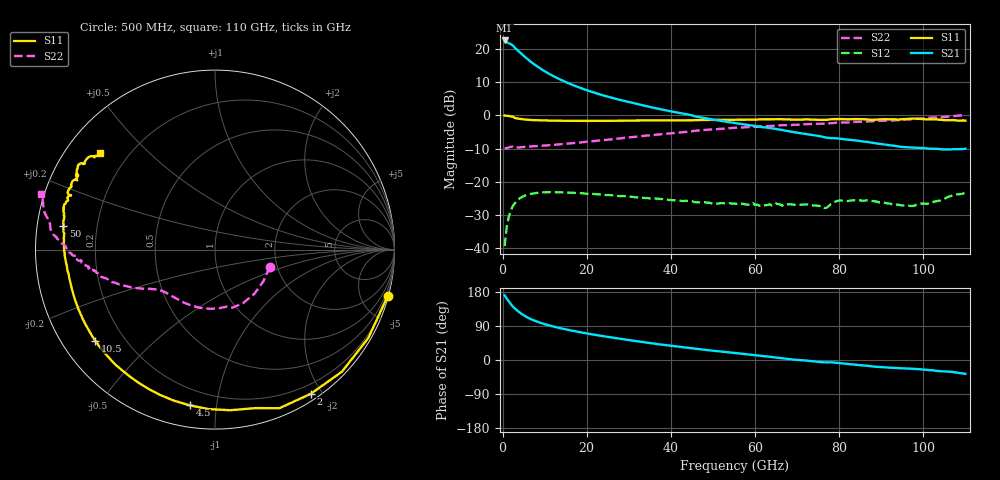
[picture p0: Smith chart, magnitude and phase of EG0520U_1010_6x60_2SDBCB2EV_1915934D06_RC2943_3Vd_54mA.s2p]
!File name = EG0520U_1010_6x60_2SDBCB2EV_1915934D06_RC2943_3Vd_54mA.s2p
!Base file name = EG0520U_1010_6x60_2SDBCB2EV_1915934D06_RC2943
!Date = 8/23/2019
!Time = 1:04 PM
!Test duration(min) = 0.15
!Test = S-Parameters
!MPTS version = 8.91.5
!State File = C:\Data\PNA\20190821205423\S-Parameters_2019-08-23.sta
!Cal File =
!ComputerName = CMPE-LAB-6
!Comments =
!Attenuation = 0
!Z0 = 50
!Input Power(dBm) = -13.00
!Device ID = EG0520U_1010_6x60_2SDBCB2EV
!Row = 29
!Column = 43
!Technology = QPHT09
!Lot/Wafer = 1915934D06
!Gate Size = 360
!Mask = EG0520
!Cal Standards = GaAs BCB
!Cal Kit = EG2306
!Job Number = 20190821205423
!Device Type = FET
!set_Vg(v) = -1.500
!set_Vd(v) = 3.000
!set_Vd(mA) = 54.000
!file_name = EG0520U_1010_6x60_2SDBCB2EV_1915934D06_RC2943_3Vd_54mA.s2p
!Vd(V) = 3.000
!Vd(mA) = 54.176
!Vg(V) = -0.427
!Vg(mA) = -0.001
# GHz  S  DB  R  50
!%	Freq(GHz)  s11(dB)  s11(deg)  s21(dB)  s21(deg)  s12(dB)  s12(deg)  s22(dB)  s22(deg)
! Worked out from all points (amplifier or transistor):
!   220 points, 500 MHz to 110 GHz, reference 50 ohm
!   highest |S21| = 22.6 dB at 500 MHz (marker M1)
!   |S21| within 3 dB of that: start of sweep to 3.614 GHz
!   unconditionally stable (mu >= 1): 31.99 GHz to 96.71 GHz
!   at 18.5 GHz: K = 0.56, MSG = 15.8 dB, |S12| = -23.4 dB
!   at 55.5 GHz: K = 1.63, MAG = 7.5 dB, |S12| = -26.7 dB
!   at 110 GHz: K = -1.04, MSG = 6.5 dB, |S12| = -23.0 dB
!   S11 on the Smith chart (normalised r, x): 500 MHz: 0.12, -7.51; 2 GHz: 0.08, -1.86; 4.5 GHz: 0.11, -0.84; 10.5 GHz: 0.10, -0.33; 50 GHz: 0.08, +0.08; 110 GHz: 0.10, +0.36
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0.5  -0.04 -15.2  22.58 170.8  -39.39 81.3  -9.90 -17.5
1  -0.12 -30.0  22.11 162.1  -33.63 73.3  -9.84 -33.3
1.5  -0.17 -43.8  21.73 154.5  -30.50 65.8  -9.63 -48.0
2  -0.31 -56.4  21.46 147.1  -28.52 58.9  -9.46 -62.2
2.5  -0.41 -67.9  21.00 140.6  -27.17 53.0  -9.42 -73.3
3  -0.81 -75.7  20.30 135.5  -26.37 48.7  -9.77 -78.0
3.5  -0.93 -84.5  19.71 130.4  -25.63 44.2  -9.69 -86.2
4.5  -1.12 -99.2  18.56 121.8  -24.67 36.9  -9.55 -99.7
5.5  -1.25 -110.8  17.44 114.8  -24.09 31.3  -9.47 -109.7
7  -1.40 -123.9  15.90 106.6  -23.58 24.9  -9.31 -120.2
8.5  -1.46 -133.3  14.54 100.2  -23.29 20.3  -9.21 -126.9
10.5  -1.53 -142.8  12.95 93.1  -23.14 15.4  -9.03 -133.6
14  -1.61 -154.2  10.64 83.3  -23.17 9.9  -8.66 -140.4
19  -1.65 -164.2  8.05 72.2  -23.46 5.1  -8.07 -145.7
26.5  -1.62 -173.2  5.12 58.5  -24.13 2.2  -7.09 -150.4
37  -1.49 178.6  2.01 41.7  -25.11 2.2  -5.74 -156.1
50  -1.37 171.2  -1.25 24.7  -26.61 6.8  -4.17 -164.0
55.5  -1.32 168.3  -2.34 18.1  -26.66 8.4  -3.70 -166.7
73.5  -1.26 159.8  -5.88 -3.1  -27.10 8.1  -2.53 -174.3
92  -1.18 151.3  -8.99 -20.3  -26.52 -6.9  -1.52 178.3
101  -1.23 146.7  -9.99 -26.3  -26.63 -0.9  -0.74 173.5
110  -1.58 139.9  -10.02 -36.5  -23.00 -12.3  0.13 162.2
